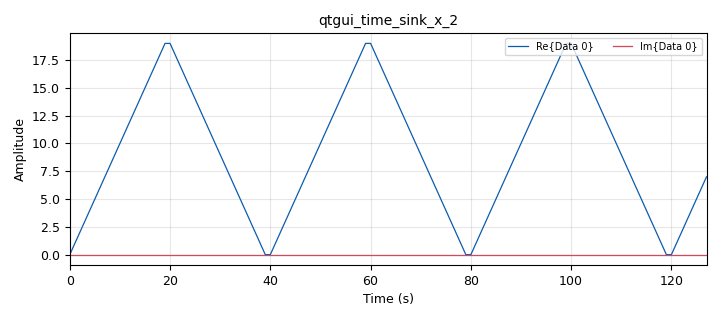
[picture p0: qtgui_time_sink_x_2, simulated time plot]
options:
  parameters:
    author: keremenhos
    generate_options: qt_gui
    id: OFDM_1
    output_language: python
    title: OFDM_1
  states: {}

blocks:
- name: Data
  id: variable
  parameters:
    value: numpy.array(numpy.random.randint(M,size=20))
  states: {}
- name: Data2
  id: variable
  parameters:
    value: list(Data) + list(numpy.flip(Data))
  states: {}
- name: M
  id: variable
  parameters:
    value: '4'
  states: {}
- name: data_sc
  id: variable
  parameters:
    value: '40'
  states: {}
- name: fft_len
  id: variable
  parameters:
    value: '64'
  states: {}
- name: guard
  id: variable
  parameters:
    value: fft_len-null-data_sc-pilot_sc
  states: {}
- name: noise
  id: variable_qtgui_range
  parameters:
    gui_hint: 2,2,1,2
    label: Noise Power
    orient: Qt.Horizontal
    start: '-30'
    step: '0.5'
    stop: '10'
    value: '-30'
  states: {}
- name: 'null'
  id: variable
  parameters:
    value: '11'
  states: {}
- name: pck_len
  id: variable
  parameters:
    value: '4096'
  states: {}
- name: pilot_sc
  id: variable
  parameters:
    value: '4'
  states: {}
- name: pilot_symbols
  id: variable
  parameters:
    value: numpy.array(numpy.random.randint(2,size=pilot_sc//2))
  states: {}
- name: samp_rate
  id: variable
  parameters:
    value: '1000000'
  states: {}
- name: spf
  id: variable
  parameters:
    value: (pck_len-510)//fft_len
  states: {}
- name: blocks_complex_to_float_1
  id: blocks_complex_to_float
  parameters: {}
  states: {state: disabled}
- name: blocks_complex_to_mag_squared_0
  id: blocks_complex_to_mag_squared
  parameters: {}
  states: {state: disabled}
- name: blocks_float_to_complex_0
  id: blocks_float_to_complex
  parameters: {}
  states: {state: disabled}
- name: blocks_float_to_complex_1
  id: blocks_float_to_complex
  parameters: {}
  states: {state: disabled}
- name: blocks_keep_m_in_n_1
  id: blocks_keep_m_in_n
  parameters:
    m: fft_len*spf
    n: pck_len
    offset: '1'
    type: float
  states: {state: disabled}
- name: blocks_null_sink_0
  id: blocks_null_sink
  parameters:
    type: complex
  states: {state: disabled}
- name: blocks_stream_to_tagged_stream_0
  id: blocks_stream_to_tagged_stream
  parameters:
    len_tag_key: packet_len
    packet_len: '510'
    type: float
  states: {state: disabled}
- name: blocks_stream_to_tagged_stream_0_0_0_0_0_0
  id: blocks_stream_to_tagged_stream
  parameters:
    len_tag_key: '"frame_len"'
    packet_len: fft_len
    type: complex
  states: {state: disabled}
- name: blocks_stream_to_tagged_stream_1
  id: blocks_stream_to_tagged_stream
  parameters:
    len_tag_key: '"packet_len"'
    packet_len: fft_len*spf
    type: complex
  states: {state: disabled}
- name: blocks_stream_to_tagged_stream_2
  id: blocks_stream_to_tagged_stream
  parameters:
    len_tag_key: '"packet_len"'
    packet_len: '40'
    type: complex
  states: {}
- name: blocks_stream_to_tagged_stream_3
  id: blocks_stream_to_tagged_stream
  parameters:
    len_tag_key: sym
    packet_len: '1'
    type: complex
    vlen: fft_len
  states: {state: disabled}
- name: blocks_stream_to_vector_0
  id: blocks_stream_to_vector
  parameters:
    num_items: fft_len
    type: complex
  states: {state: disabled}
- name: blocks_stream_to_vector_0_0
  id: blocks_stream_to_vector
  parameters:
    num_items: fft_len
    type: complex
  states: {state: disabled}
- name: blocks_tag_gate_0
  id: blocks_tag_gate
  parameters:
    propagate_tags: 'False'
    type: float
  states: {state: disabled}
- name: blocks_tag_gate_1
  id: blocks_tag_gate
  parameters:
    propagate_tags: 'False'
    single_key: '"sym"'
    type: complex
  states: {state: disabled}
- name: blocks_tagged_stream_mux_1
  id: blocks_tagged_stream_mux
  parameters:
    lengthtagname: packet_len
    ninputs: '2'
    type: complex
  states: {state: disabled}
- name: blocks_throttle_0
  id: blocks_throttle
  parameters:
    samples_per_second: samp_rate
    type: complex
  states: {state: disabled}
- name: blocks_throttle_1
  id: blocks_throttle
  parameters:
    samples_per_second: samp_rate
    type: complex
  states: {}
- name: blocks_vector_source_x_0
  id: blocks_vector_source_x
  parameters:
    repeat: 'True'
    type: int
    vector: range(20)
  states: {}
- name: blocks_vector_source_x_0_1
  id: blocks_vector_source_x
  parameters:
    repeat: 'True'
    type: float
    vector: '[-1,-1,-1,-1,-1,-1,-1,-1,1,-1,-1,-1,1,-1,-1,-1,1,1,-1,-1,1,-1,-1,-1,1,1,1,-1,1,-1,1,-1,1,1,-1,1,1,-1,-1,-1,1,1,1,-1,-1,-1,1,-1,-1,1,-1,1,-1,1,-1,-1,-1,1,1,-1,1,1,-1,-1,1,1,1,1,1,-1,-1,1,1,1,1,-1,-1,-1,1,-1,1,1,-1,1,1,1,-1,-1,1,-1,1,-1,-1,1,-1,-1,-1,-1,-1,1,-1,-1,1,1,-1,-1,1,1,1,-1,1,-1,-1,-1,1,1,1,1,1,-1,1,1,1,1,-1,-1,-1,-1,-1,1,1,1,1,1,1,1,1,1,-1,-1,-1,-1,1,1,1,1,-1,1,1,1,-1,-1,-1,-1,1,-1,1,1,-1,-1,1,1,-1,1,1,-1,1,1,1,1,-1,1,-1,-1,-1,-1,1,1,1,-1,-1,1,1,-1,-1,-1,-1,1,-1,-1,1,-1,-1,-1,1,-1,1,-1,1,1,1,-1,1,-1,1,1,1,1,-1,-1,1,-1,-1,1,-1,1,1,1,-1,-1,1,1,1,-1,-1,-1,-1,-1,-1,1,1,1,-1,1,1,1,-1,1,-1,-1,1,1,1,1,-1,1,-1,1,-1,-1,1,-1,1,-1,-1,-1,-1,-1,-1,1,-1,1,-1,1,-1,1,-1,1,1,1,1,1,-1,1,-1,1,1,-1,1,-1,-1,-1,-1,-1,1,1,-1,1,1,1,-1,1,1,-1,1,1,-1,1,-1,1,1,-1,-1,-1,-1,-1,1,-1,1,1,1,-1,1,1,1,1,1,-1,-1,-1,1,1,1,1,-1,-1,1,1,-1,1,-1,-1,1,1,-1,1,-1,1,1,1,-1,-1,-1,1,1,-1,1,-1,-1,-1,1,-1,1,1,1,1,1,1,1,-1,1,-1,-1,1,-1,1,1,-1,-1,-1,1,-1,1,-1,-1,1,1,-1,-1,-1,1,1,-1,-1,-1,-1,-1,-1,-1,1,1,-1,-1,1,1,-1,-1,1,-1,1,-1,1,1,-1,-1,1,-1,-1,1,1,1,1,1,1,-1,1,1,-1,1,-1,-1,1,-1,-1,1,-1,-1,1,1,-1,1,1,1,1,1,1,-1,-1,1,-1,1,1,-1,1,-1,1,-1,-1,-1,-1,1,-1,1,-1,-1,-1,1,-1,-1,1,1,1,-1,1,1,-1,-1,1,-1,1,1,1,1,-1,1,1,-1,-1,-1,-1,1,1,-1,1,-1,1,-1,1,-1,-1,1,1,1,-1,-1,1,-1,-1,-1,-1,1,1,-1,-1,-1,1,-1,-1,-1,-1]'
  states: {state: disabled}
- name: blocks_vector_to_stream_0
  id: blocks_vector_to_stream
  parameters:
    num_items: fft_len
    type: complex
  states: {state: disabled}
- name: blocks_vector_to_stream_0_0
  id: blocks_vector_to_stream
  parameters:
    num_items: fft_len
    type: complex
  states: {state: disabled}
- name: blocks_vector_to_stream_1
  id: blocks_vector_to_stream
  parameters:
    num_items: fft_len
    type: complex
  states: {state: disabled}
- name: channels_channel_model_0
  id: channels_channel_model
  parameters:
    block_tags: 'True'
    epsilon: '1'
    freq_offset: '0'
    noise_voltage: 10.0**(noise/10.0)
    seed: '0'
    taps: '1'
  states: {state: disabled}
- name: digital_corr_est_cc_0
  id: digital_corr_est_cc
  parameters:
    mark_delay: '509'
    sps: '1'
    symbols: '[-1,-1,-1,-1,-1,-1,-1,-1,1,-1,-1,-1,1,-1,-1,-1,1,1,-1,-1,1,-1,-1,-1,1,1,1,-1,1,-1,1,-1,1,1,-1,1,1,-1,-1,-1,1,1,1,-1,-1,-1,1,-1,-1,1,-1,1,-1,1,-1,-1,-1,1,1,-1,1,1,-1,-1,1,1,1,1,1,-1,-1,1,1,1,1,-1,-1,-1,1,-1,1,1,-1,1,1,1,-1,-1,1,-1,1,-1,-1,1,-1,-1,-1,-1,-1,1,-1,-1,1,1,-1,-1,1,1,1,-1,1,-1,-1,-1,1,1,1,1,1,-1,1,1,1,1,-1,-1,-1,-1,-1,1,1,1,1,1,1,1,1,1,-1,-1,-1,-1,1,1,1,1,-1,1,1,1,-1,-1,-1,-1,1,-1,1,1,-1,-1,1,1,-1,1,1,-1,1,1,1,1,-1,1,-1,-1,-1,-1,1,1,1,-1,-1,1,1,-1,-1,-1,-1,1,-1,-1,1,-1,-1,-1,1,-1,1,-1,1,1,1,-1,1,-1,1,1,1,1,-1,-1,1,-1,-1,1,-1,1,1,1,-1,-1,1,1,1,-1,-1,-1,-1,-1,-1,1,1,1,-1,1,1,1,-1,1,-1,-1,1,1,1,1,-1,1,-1,1,-1,-1,1,-1,1,-1,-1,-1,-1,-1,-1,1,-1,1,-1,1,-1,1,-1,1,1,1,1,1,-1,1,-1,1,1,-1,1,-1,-1,-1,-1,-1,1,1,-1,1,1,1,-1,1,1,-1,1,1,-1,1,-1,1,1,-1,-1,-1,-1,-1,1,-1,1,1,1,-1,1,1,1,1,1,-1,-1,-1,1,1,1,1,-1,-1,1,1,-1,1,-1,-1,1,1,-1,1,-1,1,1,1,-1,-1,-1,1,1,-1,1,-1,-1,-1,1,-1,1,1,1,1,1,1,1,-1,1,-1,-1,1,-1,1,1,-1,-1,-1,1,-1,1,-1,-1,1,1,-1,-1,-1,1,1,-1,-1,-1,-1,-1,-1,-1,1,1,-1,-1,1,1,-1,-1,1,-1,1,-1,1,1,-1,-1,1,-1,-1,1,1,1,1,1,1,-1,1,1,-1,1,-1,-1,1,-1,-1,1,-1,-1,1,1,-1,1,1,1,1,1,1,-1,-1,1,-1,1,1,-1,1,-1,1,-1,-1,-1,-1,1,-1,1,-1,-1,-1,1,-1,-1,1,1,1,-1,1,1,-1,-1,1,-1,1,1,1,1,-1,1,1,-1,-1,-1,-1,1,1,-1,1,-1,1,-1,1,-1,-1,1,1,1,-1,-1,1,-1,-1,-1,-1,1,1,-1,-1,-1,1,-1,-1,-1,-1]'
    threshold: '0.5'
    threshold_method: digital.THRESHOLD_ABSOLUTE
  states: {state: disabled}
- name: digital_ofdm_carrier_allocator_cvc_0
  id: digital_ofdm_carrier_allocator_cvc
  parameters:
    fft_len: fft_len
    len_tag_key: '"packet_len"'
    occupied_carriers: (list(range(-22, -7)) + list(range(-6, -1)) + list(range(2, 7)) + list(range(8, 23)) ,)
    output_is_shifted: 'True'
    pilot_carriers: ((-23, -7, 7, 23,),)
    pilot_symbols: ((-1, 1, 1, -1,),)
    sync_words: '[]'
  states: {state: disabled}
- name: epy_block_0
  id: epy_block
  parameters:
    M: M
    _source_code: |
      """
      Embedded Python Blocks:

      Each time this file is saved, GRC will instantiate the first class it finds
      to get ports and parameters of your block. The arguments to __init__  will
      be the parameters. All of them are required to have default values!
      """

      import numpy as np
      import time
      from gnuradio import gr


      class blk(gr.sync_block):  # other base classes are basic_block, decim_block, interp_block
          """Embedded Python Block example - a simple multiply const"""

          def __init__(self, data=[], M=4, data_subcarrier=1, pilot_subcarrier=1, null_subcarrier=1, guard_subcarrier = 1, fft_size = 64, pilot_symbols=[], spf = 1):  # only default arguments here
              """arguments to this function show up as parameters in GRC"""
              gr.sync_block.__init__(
                  self,
                  name='OFDM Frame Generator',   # will show up in GRC
                  in_sig=[],
                  out_sig=[np.complex64]
              )
              self.M = M
              self.tM = self.M
              self.c = 0
              self.data = data
              self.data_subcarrier = data_subcarrier
              self.pilot_subcarrier = pilot_subcarrier
              self.null_subcarrier = null_subcarrier
              self.guard_subcarrier = guard_subcarrier
              self.fft_size = fft_size
              self.l = (len(self.data)//((self.data_subcarrier)/2))-1
              self.d = ((self.data_subcarrier+self.pilot_subcarrier)//2)
              self.data_buf = np.zeros(self.d, dtype=complex)
              self.pilot_symbols = pilot_symbols
              self.out_buf = []
              self.spf = spf
      #        self.ppd = np.array(np.random.randint(2,size=self.pilot_subcarrier))
              
          def modulat(self, MO):
              n = np.arange(0,MO)
              a = np.asarray([x^(x>>1) for x in n])
              D = np.sqrt(MO).astype(int)
              a = np.reshape(a,(D,D))
              a[1::2, :] = a[1::2, ::-1]
              nGray=np.reshape(a,(MO))
              x1 = nGray//D
              y = nGray%D
              Ay=2*y+1-D
              Ax=2*x1+1-D
              cons = Ax+1j*Ay
              cons = cons/np.max(np.absolute((np.real(cons))))
              return cons
              
          def pilot_generator(self, psc, pd):
              pp = np.zeros(psc, dtype=complex)
              for i in range(psc):
                  if pd[i] == 1:
                      pp[i] = 1+0*1j
                  else:
                      pp[i] = -1+0*1j
              return pp

          def work(self, input_items, output_items):
          
              dat = self.data
              dsc = self.data_subcarrier
              psc = self.pilot_subcarrier
              gsc = self.guard_subcarrier
              nsc = self.null_subcarrier
              dd = self.d
              ffts = self.fft_size
          
              self.cons = self.modulat(self.M)
              self.ppos = np.arange(-1*((dsc+psc)//(psc*2)),((dsc+psc)/2),((dsc+psc)/psc))
              self.ppos = self.ppos[self.ppos>0]
              self.pilots = self.pilot_generator(psc//2, self.pilot_symbols)
              
              
              cc = 0
              for xx in range(self.d):
                  if xx in self.ppos:
                      self.data_buf[xx] = self.pilots[cc]
                      if cc != len(self.pilots):
                          cc += 1
                  else:
                      self.data_buf[xx]=(self.cons[dat[int((dd-(psc//2))*self.c)+xx-cc]])
              
              self.c += 1
              if self.c > self.l:
                  self.c = 0
                  
              x1 = [0]*(gsc-(gsc//2))
              x2 = np.conj(np.flip(self.data_buf))
              x3 = [0]*nsc
              x4 = self.data_buf
              x5 = [0]*(gsc//2)
              
              self.out_buf.extend(np.concatenate((x1,x2,x3,x4,x5)))
              print(len(self.out_buf))
              
              if len(self.out_buf) == self.spf*self.fft_size and len(output_items[0]) >= self.spf*self.fft_size:
                  output_items[0][:len(self.out_buf)] = self.out_buf
                  self.out_buf = []
                  return self.spf*self.fft_size
              else:
                  return 0
      #        if len(output_items[0])<ffts:
      #            self.c -= 1
      #            return 0
      #        else:
      #            output_items[0][:ffts] = np.concatenate((x1,x2,x3,x4,x5))
      #            return ffts
    data: Data
    data_subcarrier: data_sc
    fft_size: fft_len
    guard_subcarrier: guard
    null_subcarrier: 'null'
    pilot_subcarrier: pilot_sc
    pilot_symbols: pilot_symbols
    spf: spf
  states: {state: disabled}
- name: epy_block_1
  id: epy_block
  parameters:
    _source_code: |
      import time
      import random
      import numpy as np

      from gnuradio import gr
      from gnuradio import gr_unittest
      from gnuradio import digital
      from gnuradio import blocks
      from gnuradio import grc
      import pmt
      import inspect

      class blk(gr.basic_block):
          def __init__(self, frame_length=1):
              
              gr.basic_block.__init__(
                  self,
                  name="Preamble Demux",
                  in_sig=[np.float32],
                  out_sig=[np.float32]
              )
              self.a = 0
              self.aa = 0
              self.buf = []
              self.off = 0
              self.det = 0
              self.flg2 = 0
              self.b = 0
              self.frame_length = frame_length
              
          def forecast(self, noutput_items, ninput_items_required):
              #setup size of input_items[i] for work call
              for i in range(len(ninput_items_required)):
                  ninput_items_required[i] = 4096
                  
          def general_work(self, input_items, output_items):
              in0 = input_items[0]
              out = output_items[0]
              
              if self.det == 0:
                  tags = self.get_tags_in_window(0, 0, len(in0))
                  for tag in tags:
                      offset = tag.offset
                      key = pmt.to_python(tag.key) # convert from PMT to python string
                      if key == 'corr_est':
                          self.off = offset
                          self.det = 1
                          self.flg2 = 0
                          self.buf.extend(in0[(self.off-self.aa)+1:])
                          break
                  if self.det == 0:
                      self.b = 0
                          
              if len(self.buf)<self.frame_length and self.det == 1 and self.flg2 == 1:
                  self.buf.extend(in0)
              
              if len(self.buf)>=self.frame_length and self.det == 1 and len(out)>=self.frame_length:
                  out[:self.frame_length] = self.buf[:self.frame_length]
                  if len(self.buf) == self.frame_length:
                      self.buf = []
                      self.det = 0
                      self.b = 1
                  else:
                      tags = self.get_tags_in_window(0, 0, len(in0))
                      for tag in tags:
                          self.offset2 = tag.offset
                          key = pmt.to_python(tag.key) # convert from PMT to python string
                          if key == 'corr_est':
                              if self.offset2 == self.off:
                                  self.buf = []
                                  self.det = 0
                                  self.b = 1
                                  break
                              else:
                                  self.off = self.offset2
                                  self.det = 1
                                  self.flg2 = 0
                                  self.buf=[]
                                  self.buf.extend(in0[(self.off-self.aa)+1:])
                                  self.b = 1
                                  break

              self.flg2 = 1
              self.aa = self.aa + len(in0)
              
              self.consume(0, len(in0)) #consume port 0 input
              
              if self.b == 0:
                  return 0
              else:
                  return self.frame_length
    frame_length: pck_len
  states: {state: disabled}
- name: epy_block_2
  id: epy_block
  parameters:
    M: '4'
    _source_code: |
      """
      Embedded Python Blocks:

      Each time this file is saved, GRC will instantiate the first class it finds
      to get ports and parameters of your block. The arguments to __init__  will
      be the parameters. All of them are required to have default values!
      """

      import time
      import random
      import numpy as np

      from gnuradio import gr
      from gnuradio import gr_unittest
      from gnuradio import digital
      from gnuradio import blocks
      from gnuradio import grc
      from scipy import interpolate
      import pmt
      import inspect


      class blk(gr.basic_block):  # other base classes are basic_block, decim_block, interp_block
          """Embedded Python Block example - a simple multiply const"""

          def __init__(self, M=4, data=[], data_subcarrier=1, pilot_subcarrier=1, null_subcarrier=1, guard_subcarrier = 1, fft_size = 64, pilot_symbols=[], spf=1):  # only default arguments here
              """arguments to this function show up as parameters in GRC"""
              gr.basic_block.__init__(
                  self,
                  name='Embedded Python Block',   # will show up in GRC
                  in_sig=[np.complex64],
                  out_sig=[np.complex64]
              )
              # if an attribute with the same name as a parameter is found,
              # a callback is registered (properties work, too).
              self.M = M
              self.c = 0
              self.data = data
              self.data_subcarrier = data_subcarrier
              self.pilot_subcarrier = pilot_subcarrier
              self.null_subcarrier = null_subcarrier
              self.guard_subcarrier = guard_subcarrier
              self.fft_size = fft_size
              self.l = (len(self.data)//((self.data_subcarrier)/2))-1
              self.d = ((self.data_subcarrier+self.pilot_subcarrier)//2)
              self.data_buf = np.zeros(self.d, dtype=complex)
              self.pilot_symbols = pilot_symbols
              self.aa = 0
              self.out_buf = []
              self.data_out_buf = []
              self.sym_n = 0
              self.spf = spf
              self.flg = 0

          def forecast(self, noutput_items, ninput_items_required):
              #setup size of input_items[i] for work call
              for i in range(len(ninput_items_required)):
                  ninput_items_required[i] = 4096
                  
          def pilot_generator(self, psc, pd):
              pp = np.zeros(psc, dtype=complex)
              for i in range(psc):
                  if pd[i] == 1:
                      pp[i] = 1+0*1j
                  else:
                      pp[i] = -1+0*1j
              return pp

          def general_work(self, input_items, output_items):

              in0 = input_items[0][:]
              out = output_items[0][:]
              
              dat = self.data
              dsc = self.data_subcarrier
              psc = self.pilot_subcarrier
              gsc = self.guard_subcarrier
              nsc = self.null_subcarrier
              dd = self.d
              ffts = self.fft_size
              n_sc = (dsc+psc)/2
              n_grd = gsc//2
              
              self.ppos = np.arange(-1*((dsc+psc)//(psc*2)),((dsc+psc)/2),((dsc+psc)/psc))
              self.ppos = self.ppos[self.ppos>0].astype(int)
              self.pilots = self.pilot_generator(psc//2, self.pilot_symbols)
              self.tx_pilot = np.concatenate((np.flip(self.pilots),self.pilots),axis=None)
              
              alli = np.array(range(ffts))
              sc_ind = np.arange((n_grd+1),(ffts-n_grd))
              sc_ind = np.delete(sc_ind,(sc_ind[:, None] == (np.arange(-nsc//2,nsc//2)+(ffts/2)+1)).argmax(axis=0))
              sc_ind[:(np.where(sc_ind==((ffts/2)-(nsc//2)-1))[0][0])+1]=np.flipud(sc_ind[:(np.where(sc_ind==((ffts/2)-(nsc//2)-1))[0][0])+1])
              alli[:(np.where(alli==((ffts/2)-1))[0][0])+1]=np.flipud(alli[:(np.where(alli==((ffts/2)-1))[0][0])+1])
              p_ind = np.sort(np.concatenate((alli[self.ppos+(nsc//2)],alli[((ffts//2)+(nsc//2)+1+self.ppos)]),axis=None))
              s_sc_ind = np.sort(sc_ind)
              dsc_ind = np.delete(s_sc_ind,(s_sc_ind[:, None] == p_ind).argmax(axis=0))
              
              tags = self.get_tags_in_window(0, 0, len(in0))
              for tag in tags:
                  offset = tag.offset
                  key = pmt.to_python(tag.key) # convert from PMT to python string
                  if key == 'sym':
                      self.offset = offset
                      self.xx = p_ind + self.offset - self.aa
                      self.ch_est = np.true_divide(in0[self.xx.astype(int)],self.tx_pilot)
                      
                      self.ch_est_r = np.real(self.ch_est)
                      self.ch_est_i = np.imag(self.ch_est)
                      
                      f_r = interpolate.splrep(p_ind,self.ch_est_r,s=0)
                      f_i = interpolate.splrep(p_ind,self.ch_est_i,s=0)
                      H_r = interpolate.splev(np.sort(alli),f_r,der=0)
                      H_i = interpolate.splev(np.sort(alli),f_i,der=0)
                      H = H_r + H_i*1j

                      if sum(H_r) != 0:
                          self.sym_out = np.multiply(np.multiply((np.multiply(np.conj(H),H)**(-1)),np.conj(H)),in0[(self.offset-self.aa):(self.offset-self.aa)+ffts])
                          self.out_buf.extend(self.sym_out)
                          self.data_out_buf.extend(self.sym_out[dsc_ind[(dsc//2):].astype(int)])
                          self.sym_n += 1
                          if self.flg == 0:
                              self.flg = 1
                              self.index1 = self.offset + dsc_ind[dsc//2]
                              self.cind = 0
                          self.add_item_tag(0, (self.index1 + self.cind*(dsc//2)), pmt.intern("Sym#"), pmt.intern(str(self.sym_n)))
                          self.cind += 1
      #                    print(self.nitems_written(0))
                          if self.sym_n == self.spf:
                              self.sym_n = 0
                      
              if len(self.data_out_buf)>=len(out):
                  output_items[0][:] = self.data_out_buf[:len(out)]
                  self.data_out_buf = self.data_out_buf[len(out):]
                  self.aa = self.aa + len(in0)
                  self.consume(0, len(in0))
                  return len(out)

              self.aa = self.aa + len(in0)
              self.consume(0, len(in0))
              return 0
    data: Data
    data_subcarrier: data_sc
    fft_size: fft_len
    guard_subcarrier: guard
    null_subcarrier: 'null'
    pilot_subcarrier: pilot_sc
    pilot_symbols: pilot_symbols
    spf: spf
  states: {state: disabled}
- name: epy_block_3
  id: epy_block
  parameters:
    _source_code: |
      """
      Embedded Python Blocks:

      Each time this file is saved, GRC will instantiate the first class it finds
      to get ports and parameters of your block. The arguments to __init__  will
      be the parameters. All of them are required to have default values!
      """

      import numpy as np
      from gnuradio import gr


      class blk(gr.sync_block):  # other base classes are basic_block, decim_block, interp_block
          """Embedded Python Block example - a simple multiply const"""

          def __init__(self):  # only default arguments here
              """arguments to this function show up as parameters in GRC"""
              gr.sync_block.__init__(
                  self,
                  name='Normalizer',   # will show up in GRC
                  in_sig=[np.complex64],
                  out_sig=[np.complex64]
              )
              # if an attribute with the same name as a parameter is found,
              # a callback is registered (properties work, too).

          def work(self, input_items, output_items):
              """example: multiply with constant"""
              output_items[0][:] = input_items[0] / np.max(np.absolute(np.real(input_items[0])))
              return len(output_items[0])
  states: {state: disabled}
- name: epy_block_4
  id: epy_block
  parameters:
    M: '4'
    _source_code: |
      """
      Embedded Python Blocks:

      Each time this file is saved, GRC will instantiate the first class it finds
      to get ports and parameters of your block. The arguments to __init__  will
      be the parameters. All of them are required to have default values!
      """

      import numpy as np
      from gnuradio import gr


      class blk(gr.sync_block):  # other base classes are basic_block, decim_block, interp_block
          """Embedded Python Block example - a simple multiply const"""

          def __init__(self, M=4):  # only default arguments here
              """arguments to this function show up as parameters in GRC"""
              gr.sync_block.__init__(
                  self,
                  name='QAM Modulator',   # will show up in GRC
                  in_sig=[np.int32],
                  out_sig=[np.complex64]
              )
              self.M = M
              self.tM = M
              n = np.arange(0,self.M)
              a = np.asarray([x^(x>>1) for x in n])
              D = np.sqrt(self.M).astype(int)
              a = np.reshape(a,(D,D))
              a[1::2, :] = a[1::2, ::-1]
              nGray=np.reshape(a,(self.M))
              x = nGray//D
              y = nGray%D
              Ay=2*y+1-D
              Ax=2*x+1-D
              self.cons = Ax+1j*Ay
              self.cons = self.cons/np.max(np.absolute((np.real(self.cons))))
              self.c = 0

          def work(self, input_items, output_items):
              if self.M != self.tM:
                  n = np.arange(0,self.M)
                  a = np.asarray([x^(x>>1) for x in n])
                  D = np.sqrt(self.M).astype(int)
                  a = np.reshape(a,(D,D))
                  a[1::2, :] = a[1::2, ::-1]
                  nGray=np.reshape(a,(self.M))
                  x = nGray//D
                  y = nGray%D
                  Ay=2*y+1-D
                  Ax=2*x+1-D
                  self.cons = Ax+1j*Ay
                  self.cons = self.cons/np.max(np.absolute((np.real(self.cons))))
                  self.tM = self.M
              for x in range(len(input_items[0])):
                  self.c += 1
                  if self.c<=20:
                      output_items[0][x] = self.cons[input_items[0][x]]
                  else:
                      output_items[0][x] = np.conj(self.cons[input_items[0][x]])
                      if self.c == 40:
                          self.c = 0
              
              return len(output_items[0])
  states: {state: disabled}
- name: epy_block_5
  id: epy_block
  parameters:
    M: M
    _source_code: |
      import numpy as np
      from gnuradio import gr


      class blk(gr.interp_block):  # other base classes are basic_block, decim_block, interp_block
          def __init__(self, M=4, data_subcarrier=0):  # only default arguments here
              gr.interp_block.__init__(
                  self,
                  name='QAM Modulator',   # will show up in GRC
                  in_sig=[np.int32],
                  out_sig=[np.complex64],
                  interp = 2
              )
              self.set_relative_rate(2)
              self.M = M
              self.tM = self.M
              self.c = 0
              self.flg = 0
              self.cc = 0
              self.data_subcarrier = data_subcarrier
              self.mm = 0
              self.intp = 2
              self.c2 = 1
              self.c3 = 0
              self.indin = 0
      #        self.buf = []
              self.buf = np.zeros(self.data_subcarrier//2)
              
          def modulat(self, MO):
              n = np.arange(0,MO)
              a = np.asarray([x^(x>>1) for x in n])
              D = np.sqrt(MO).astype(int)
              a = np.reshape(a,(D,D))
              a[1::2, :] = a[1::2, ::-1]
              nGray=np.reshape(a,(MO))
              x1 = nGray//D
              y = nGray%D
              Ay=2*y+1-D
              Ax=2*x1+1-D
              cons = Ax+1j*Ay
              cons = cons/np.max(np.absolute((np.real(cons))))
              return cons

          def work(self, input_items, output_items):
                  
              in0 = input_items[0]
              out = output_items[0]

              for x in range(len(out)):
                  if self.c3 >= 20 and self.c3%40 == 0:
                      if x >= 20:
                          self.cc += 1
                      self.c2 = 1
                      self.c = 0
                  if x%40 < 20:
                      if (x - (20*self.cc)) < len(in0):
      #                    print(x - (20*self.cc))
      #                    print('2: ', len(in0))
                          self.buf[self.c] = in0[x - (20*self.cc)]
                          out[x] = self.buf[self.c]
                          self.c += 1
                      else:
                          return x
                  else:
                      out[x] = in0[x - (2*self.c2) + 1 - (40*self.cc)]
                      self.c2 += 1
                  self.c3 += 1

              self.cc = 0
            
              return len(out)
    data_subcarrier: data_sc
  states: {}
- name: fft_vxx_0
  id: fft_vxx
  parameters:
    fft_size: fft_len
    forward: 'False'
    shift: 'True'
    type: complex
    window: '[]'
  states: {state: disabled}
- name: fft_vxx_0_0
  id: fft_vxx
  parameters:
    fft_size: fft_len
    forward: 'True'
    shift: 'True'
    type: complex
    window: '[]'
  states: {state: disabled}
- name: fft_vxx_0_0_0
  id: fft_vxx
  parameters:
    fft_size: fft_len
    forward: 'False'
    shift: 'True'
    type: complex
    window: '[]'
  states: {state: disabled}
- name: import_0
  id: import
  parameters:
    imports: import math,cmath,numpy, random, time
  states: {}
- name: qtgui_const_sink_x_0
  id: qtgui_const_sink_x
  parameters:
    grid: 'True'
    gui_hint: 0,0,2,2
    size: '2048'
    tr_tag: '"Sym#"'
    type: complex
  states: {state: disabled}
- name: qtgui_freq_sink_x_0
  id: qtgui_freq_sink_x
  parameters:
    bw: samp_rate
    fc: '0'
    fftsize: '1024'
    freqhalf: 'False'
    gui_hint: 1,2,1,2
    tr_tag: corr_est
    type: float
    wintype: firdes.WIN_BLACKMAN_hARRIS
  states: {state: disabled}
- name: qtgui_time_sink_x_0
  id: qtgui_time_sink_x
  parameters:
    gui_hint: 0,2,1,2
    size: spf*(data_sc//2)
    srate: samp_rate
    tr_level: '0'
    tr_mode: qtgui.TRIG_MODE_TAG
    tr_tag: '"Sym#"'
    type: complex
    update_time: '0.1'
    ymax: '1.5'
    ymin: '-1.5'
  states: {state: disabled}
- name: qtgui_time_sink_x_0_0
  id: qtgui_time_sink_x
  parameters:
    autoscale: 'True'
    size: '8192'
    srate: samp_rate
    tr_mode: qtgui.TRIG_MODE_TAG
    tr_tag: corr_est
    type: float
    update_time: '0.01'
    ymax: '160000'
  states: {state: disabled}
- name: qtgui_time_sink_x_1
  id: qtgui_time_sink_x
  parameters:
    size: '1024'
    srate: samp_rate
    tr_tag: frame_len
    type: complex
  states: {state: disabled}
- name: qtgui_time_sink_x_2
  id: qtgui_time_sink_x
  parameters:
    autoscale: 'True'
    size: '128'
    srate: '1'
    tr_mode: qtgui.TRIG_MODE_TAG
    tr_tag: packet_len
    type: complex
    update_time: '1'
  states: {}
- name: uhd_usrp_sink_0
  id: uhd_usrp_sink
  parameters:
    ant0: TX/RX
    center_freq0: '0'
    dev_args: '""'
    gain0: '0'
    len_tag_name: ''
    norm_gain0: 'False'
    samp_rate: samp_rate
    sync: none
    type: fc32
  states: {state: disabled}

connections:
- [blocks_complex_to_float_1, '0', epy_block_1, '0']
- [blocks_complex_to_mag_squared_0, '0', qtgui_time_sink_x_0_0, '0']
- [blocks_float_to_complex_0, '0', blocks_tagged_stream_mux_1, '0']
- [blocks_float_to_complex_1, '0', blocks_stream_to_vector_0_0, '0']
- [blocks_keep_m_in_n_1, '0', blocks_tag_gate_0, '0']
- [blocks_keep_m_in_n_1, '0', qtgui_freq_sink_x_0, '0']
- [blocks_stream_to_tagged_stream_0, '0', blocks_float_to_complex_0, '0']
- [blocks_stream_to_tagged_stream_0_0_0_0_0_0, '0', blocks_stream_to_vector_0, '0']
- [blocks_stream_to_tagged_stream_0_0_0_0_0_0, '0', qtgui_time_sink_x_1, '0']
- [blocks_stream_to_tagged_stream_1, '0', blocks_tagged_stream_mux_1, '1']
- [blocks_stream_to_tagged_stream_2, '0', blocks_throttle_1, '0']
- [blocks_stream_to_tagged_stream_2, '0', digital_ofdm_carrier_allocator_cvc_0, '0']
- [blocks_stream_to_tagged_stream_3, '0', blocks_vector_to_stream_0_0, '0']
- [blocks_stream_to_vector_0, '0', fft_vxx_0, '0']
- [blocks_stream_to_vector_0_0, '0', fft_vxx_0_0, '0']
- [blocks_tag_gate_0, '0', blocks_float_to_complex_1, '0']
- [blocks_tag_gate_1, '0', blocks_throttle_0, '0']
- [blocks_tagged_stream_mux_1, '0', channels_channel_model_0, '0']
- [blocks_throttle_0, '0', qtgui_const_sink_x_0, '0']
- [blocks_throttle_0, '0', qtgui_time_sink_x_0, '0']
- [blocks_throttle_1, '0', qtgui_time_sink_x_2, '0']
- [blocks_vector_source_x_0, '0', epy_block_4, '0']
- [blocks_vector_source_x_0, '0', epy_block_5, '0']
- [blocks_vector_source_x_0_1, '0', blocks_stream_to_tagged_stream_0, '0']
- [blocks_vector_to_stream_0, '0', epy_block_3, '0']
- [blocks_vector_to_stream_0_0, '0', epy_block_2, '0']
- [blocks_vector_to_stream_1, '0', blocks_throttle_1, '0']
- [blocks_vector_to_stream_1, '0', uhd_usrp_sink_0, '0']
- [channels_channel_model_0, '0', digital_corr_est_cc_0, '0']
- [digital_corr_est_cc_0, '0', blocks_complex_to_float_1, '0']
- [digital_corr_est_cc_0, '1', blocks_complex_to_mag_squared_0, '0']
- [digital_ofdm_carrier_allocator_cvc_0, '0', fft_vxx_0_0_0, '0']
- [epy_block_0, '0', blocks_stream_to_tagged_stream_0_0_0_0_0_0, '0']
- [epy_block_1, '0', blocks_keep_m_in_n_1, '0']
- [epy_block_2, '0', blocks_null_sink_0, '0']
- [epy_block_2, '0', blocks_tag_gate_1, '0']
- [epy_block_3, '0', blocks_stream_to_tagged_stream_1, '0']
- [epy_block_4, '0', blocks_stream_to_tagged_stream_2, '0']
- [epy_block_5, '0', blocks_stream_to_tagged_stream_2, '0']
- [fft_vxx_0, '0', blocks_vector_to_stream_0, '0']
- [fft_vxx_0_0, '0', blocks_stream_to_tagged_stream_3, '0']
- [fft_vxx_0_0_0, '0', blocks_vector_to_stream_1, '0']

metadata:
  file_format: 1
